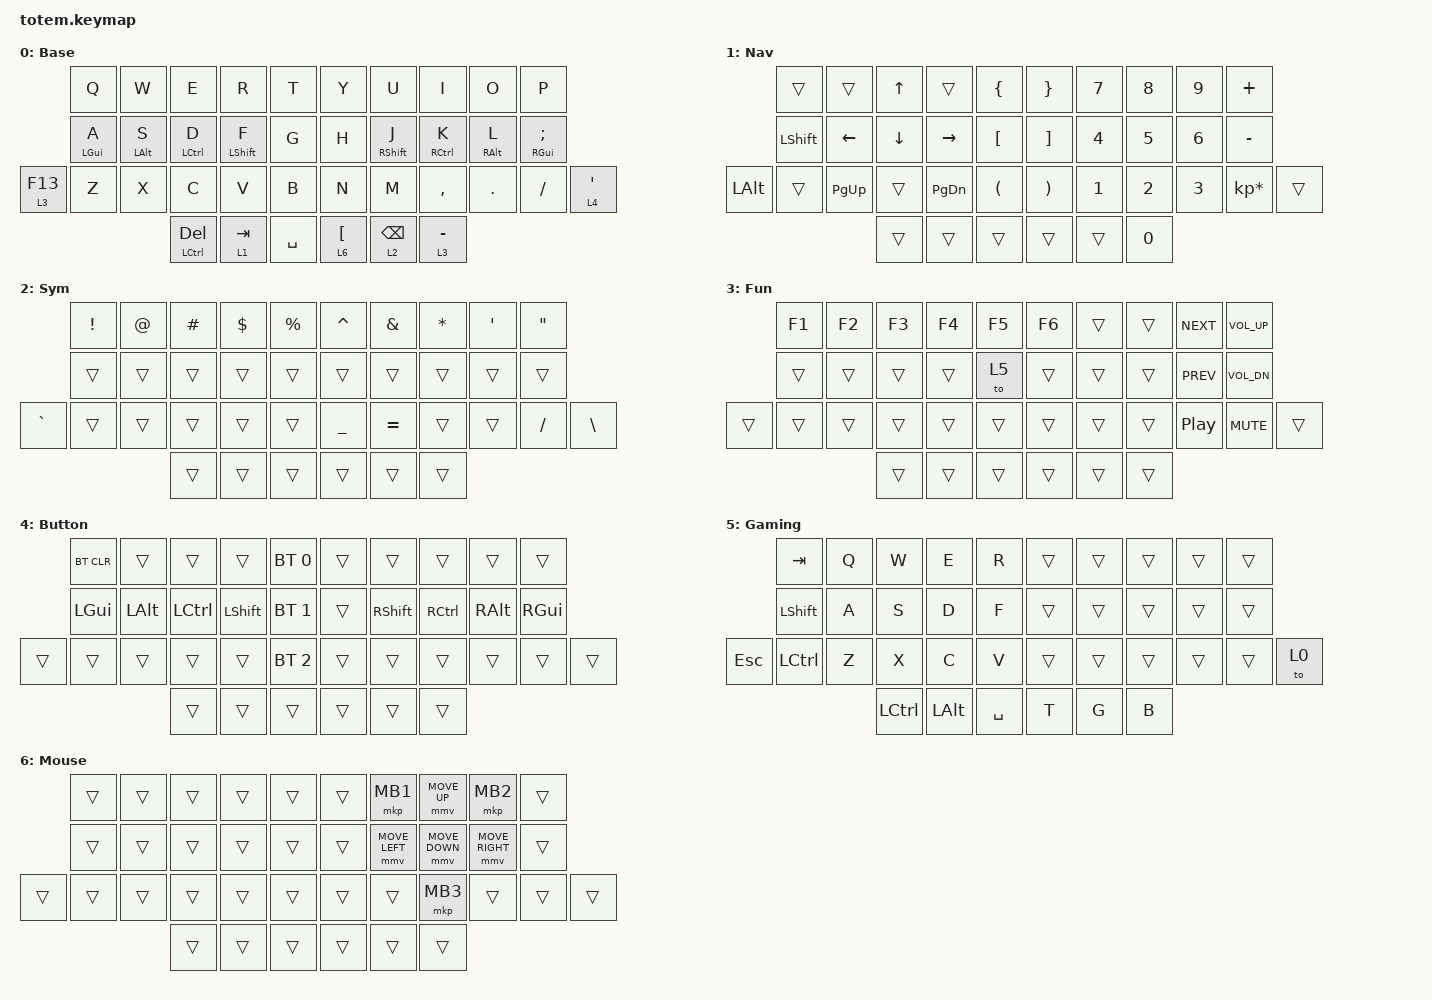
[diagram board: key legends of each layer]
//
//                                                        ▀▀▀▀▀     ▀▀▀▀▀          ▀▀█▀▀
//                                                        ▄▀▀▀▄  ▄  ▄▀▀▀▄  ▄  ▄▀▀▀▄  █  ▄▀▀▀▄
//                                                        █   █  █  █   █  █  █   █  █  █   █
//                                                         ▀▀▀   █   ▀▀▀   █   ▀▀▀   ▀   ▀▀▀
//                                                               █      ▄▄▄█▄▄▄    █   █  
//                                                               ▀      █  █  █     █▄█
//                                                             ▀▀▀▀▀    █  █  █      ▀
//                                                                      ▀  ▀  ▀
//
// ▄▄▄▄▄▄▄▄▄▄▄▄▄▄▄▄▄▄▄▄▄▄▄▄▄▄▄▄▄▄▄▄▄▄▄▄▄▄▄▄▄▄▄▄▄▄▄▄▄▄▄▄▄▄▄▄▄▄▄▄▄▄▄▄▄▄▄▄▄▄▄▄▄▄▄▄▄▄▄▄▄▄▄▄▄▄▄▄▄▄▄▄▄▄▄▄▄▄▄▄▄▄▄▄▄▄▄▄▄▄▄▄▄▄▄▄▄▄▄▄▄▄▄▄▄▄▄▄▄▄▄▄▄▄▄▄▄▄▄▄▄▄▄▄▄▄▄▄▄

#include <behaviors.dtsi>
#include <dt-bindings/zmk/bt.h>
#include <dt-bindings/zmk/keys.h>
#include <dt-bindings/zmk/pointing.h>

#define Base        0
#define Media       1
#define Nav         2
#define Mouse       3
#define Sym         4
#define Num         5
#define Fun         6
#define Button      7
#define Game        8
#define Gameplus    9

&mt {
    quick-tap-ms = <100>;
    global-quick-tap;
    flavor = "tap-preferred";
    tapping-term-ms = <170>;
};

&lt {
    tapping-term-ms = <240>;
    flavor = "balanced";
    quick-tap-ms = <150>;
};

/ {
    behaviors {
        hm: homerow_mods {
            compatible = "zmk,behavior-hold-tap";
            label = "HOMEROW_MODS";
            #binding-cells = <2>;
            flavor = "tap-preferred";
            tapping-term-ms = <200>;
            quick-tap-ms = <125>;
            global-quick-tap;
            bindings = <&kp>, <&kp>;
        };
    };

    combos {
        compatible = "zmk,combos";

        enterchord {
            bindings = <&kp ENTER>;
            key-positions = <17 18 16>;
            timeout-ms = <50>;
            layers = <0 1 2 3 4>;
        };

        escapechord {
            bindings = <&kp ESCAPE>;
            key-positions = <11 12 13>;
            layers = <0 2 1 3 4>;
            timeout-ms = <50>;
        };

        leftmouseclick {
            bindings = <&mkp MB1>;
            key-positions = <17 18 16>;
            timeout-ms = <50>;
            layers = <6>;
        };

        rightmouseclick {
            bindings = <&mkp MB2>;
            key-positions = <6 8 7>;
            timeout-ms = <50>;
            layers = <6>;
        };
    };

    keymap {
        compatible = "zmk,keymap";

        Base {
            label = "Base";
            bindings = <
           &kp Q       &kp W       &kp E          &kp R         &kp T        &kp Y               &kp U        &kp I        &kp O       &kp P
           &hm LGUI A  &hm LALT S  &hm LCTRL D    &hm LSHIFT F  &kp G        &kp H               &hm RSHFT J  &hm RCTRL K  &hm RALT L  &hm RGUI SEMICOLON
&lt 3 F13  &kp Z       &kp X       &kp C          &kp V         &kp B        &kp N               &kp M        &kp COMMA    &kp DOT     &kp SLASH           &lt 4 APOSTROPHE
                                   &mt LCTRL DEL  &lt 1 TAB     &kp SPACE    &lt 6 LEFT_BRACKET  &lt 2 BSPC   &lt 3 MINUS
            >;
        };

        Nav {
            label = "Nav";
            bindings = <
              &trans          &trans       &kp UP_ARROW  &trans     &kp LBRC    &kp RBRC  &kp NUMBER_7  &kp NUMBER_8  &kp NUMBER_9  &kp PLUS
              &kp LEFT_SHIFT  &kp LEFT     &kp DOWN      &kp RIGHT  &kp LBKT    &kp RBKT  &kp NUMBER_4  &kp NUMBER_5  &kp NUMBER_6  &kp MINUS
&kp LEFT_ALT  &trans          &kp PAGE_UP  &trans        &kp PG_DN  &kp LPAR    &kp RPAR  &kp NUMBER_1  &kp NUMBER_2  &kp NUMBER_3  &kp KP_MULTIPLY  &trans
                                           &trans        &trans     &trans      &trans    &trans        &kp NUMBER_0
            >;
        };

        Sym {
            label = "Sym";
            bindings = <
           &kp EXCL  &kp AT  &kp HASH  &kp DOLLAR  &kp PERCENT    &kp CARET  &kp AMPERSAND  &kp ASTERISK  &kp SQT  &kp DQT
           &trans    &trans  &trans    &trans      &trans         &trans     &trans         &trans        &trans   &trans
&kp GRAVE  &trans    &trans  &trans    &trans      &trans         &kp UNDER  &kp EQUAL      &trans        &trans   &kp SLASH  &kp BACKSLASH
                             &trans    &trans      &trans         &trans     &trans         &trans
            >;
        };

        Fun {
            label = "Fun";
            bindings = <
        &kp F1  &kp F2  &kp F3  &kp F4  &kp F5    &kp F6  &trans  &trans  &kp C_NEXT  &kp C_VOL_UP
        &trans  &trans  &trans  &trans  &to 5     &trans  &trans  &trans  &kp C_PREV  &kp C_VOL_DN
&trans  &trans  &trans  &trans  &trans  &trans    &trans  &trans  &trans  &kp C_PP    &kp K_MUTE    &trans
                        &trans  &trans  &trans    &trans  &trans  &trans
            >;
        };

        Button {
            label = "Button";
            bindings = <
        &bt BT_CLR  &trans    &trans     &trans      &bt BT_SEL 0    &trans  &trans      &trans     &trans    &trans
        &kp LGUI    &kp LALT  &kp LCTRL  &kp LSHIFT  &bt BT_SEL 1    &trans  &kp RSHIFT  &kp RCTRL  &kp RALT  &kp RGUI
&trans  &trans      &trans    &trans     &trans      &bt BT_SEL 2    &trans  &trans      &trans     &trans    &trans    &trans
                              &trans     &trans      &trans          &trans  &trans      &trans
            >;
        };

        Gaming {
            bindings = <
            &kp TAB         &kp Q  &kp W      &kp E         &kp R        &trans  &trans  &trans  &trans  &trans
            &kp LEFT_SHIFT  &kp A  &kp S      &kp D         &kp F        &trans  &trans  &trans  &trans  &trans
&kp ESCAPE  &kp LCTRL       &kp Z  &kp X      &kp C         &kp V        &trans  &trans  &trans  &trans  &trans  &to 0
                                   &kp LCTRL  &kp LEFT_ALT  &kp SPACE    &kp T   &kp G   &kp B
            >;

            label = "Gaming";
        };

        Mouse {
            bindings = <
        &trans  &trans  &trans  &trans  &trans    &trans  &mkp MB1        &mmv MOVE_UP    &mkp MB2         &trans
        &trans  &trans  &trans  &trans  &trans    &trans  &mmv MOVE_LEFT  &mmv MOVE_DOWN  &mmv MOVE_RIGHT  &trans
&trans  &trans  &trans  &trans  &trans  &trans    &trans  &trans          &mkp MB3        &trans           &trans  &trans
                        &trans  &trans  &trans    &trans  &trans          &trans
            >;
        };
    };
};
